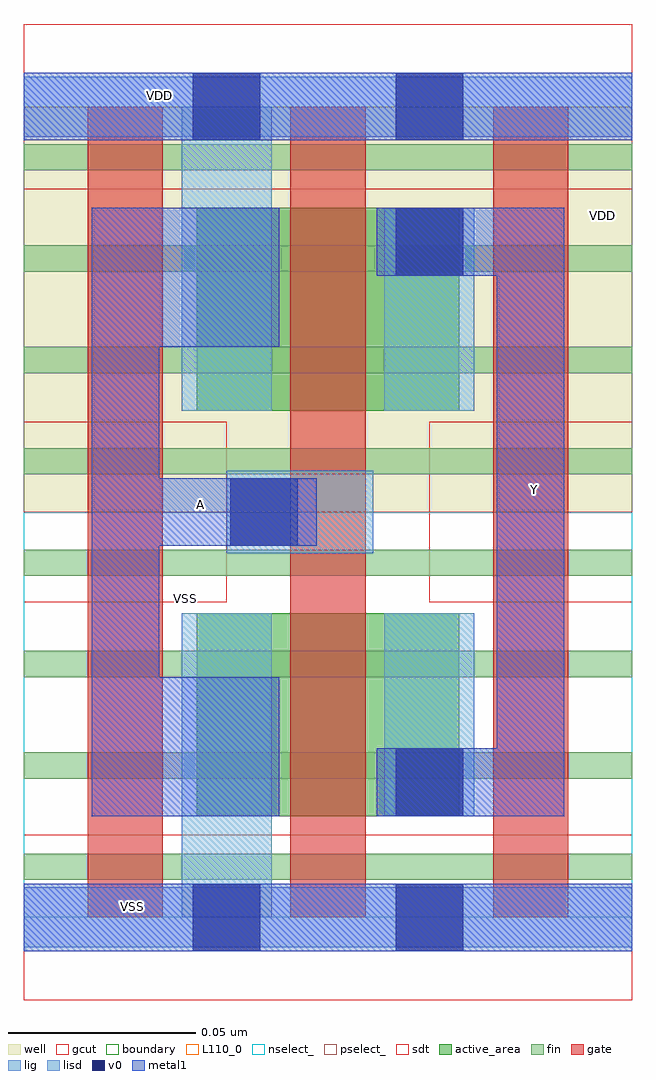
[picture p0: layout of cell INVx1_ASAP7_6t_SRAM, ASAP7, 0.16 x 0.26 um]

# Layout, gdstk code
import gdstk
lib = gdstk.Library(unit=1e-6, precision=2.5e-10)
def R(c, l, rs):  # rectangles x0, y0, x1, y1
    for r in rs: c.add(gdstk.rectangle(r[:2], r[2:], *l))
def A(c, l, x, y, w, h, nx, ny, dx, dy):  # array of equal rectangles
    R(c, l, [(x+i*dx, y+j*dy, x+i*dx+w, y+j*dy+h) for i in range(nx) for j in range(ny)])
def P(c, l, *ps):  # polygons
    for p in ps: c.add(gdstk.Polygon(p, *l))
well = (1, 0)
fin = (2, 0)
gate = (7, 0)
gcut = (10, 0)
active_area = (11, 0)
nselect_ = (12, 0)
pselect_ = (13, 0)
lig = (16, 0)
lisd = (17, 0)
v0 = (18, 0)
metal1 = (19, 0)
sdt = (88, 0)
boundary = (100, 0)
L110_0 = (110, 0)

invx1_asap7_6t_sram = lib.new_cell('INVx1_ASAP7_6t_SRAM')
R(invx1_asap7_6t_sram, well, [(0,0.108,0.162,0.216)])
A(invx1_asap7_6t_sram, fin, 0, 0.01, 0.162, 0.007, 1, 8, 0, 0.027)
A(invx1_asap7_6t_sram, gate, 0.017, 0, 0.02, 0.216, 3, 1, 0.054, 0)
R(invx1_asap7_6t_sram, gcut, [(0,-0.022,0.162,0.022), (0,0.084,0.054,0.132), (0.108,0.084,0.162,0.132), (0,0.194,0.162,0.238)])
R(invx1_asap7_6t_sram, active_area, [(0.046,0.027,0.116,0.081), (0.046,0.135,0.116,0.189)])
R(invx1_asap7_6t_sram, nselect_, [(0,0,0.162,0.108)])
R(invx1_asap7_6t_sram, pselect_, [(0,0.108,0.162,0.216)])
R(invx1_asap7_6t_sram, lig, [(0,-0.008,0.162,0.008), (0.054,0.097,0.093,0.119), (0,0.208,0.162,0.224)])
R(invx1_asap7_6t_sram, lisd, [(0.042,0,0.066,0.081), (0.096,0.027,0.12,0.081), (0.042,0.135,0.066,0.216), (0.096,0.135,0.12,0.189)])
R(invx1_asap7_6t_sram, v0, [(0.045,-0.009,0.063,0.009), (0.099,-0.009,0.117,0.009), (0.099,0.027,0.117,0.045), (0.055,0.099,0.073,0.117), (0.099,0.171,0.117,0.189), (0.045,0.207,0.063,0.225), (0.099,0.207,0.117,0.225)])
R(invx1_asap7_6t_sram, metal1, [(0,-0.009,0.162,0.009), (0,0.207,0.162,0.225)])
P(invx1_asap7_6t_sram, metal1, [(0.144,0.189),(0.094,0.189),(0.094,0.171),(0.126,0.171),(0.126,0.045),(0.094,0.045),(0.094,0.027),(0.144,0.027)],
  [(0.078,0.117),(0.036,0.117),(0.036,0.152),(0.068,0.152),(0.068,0.189),(0.018,0.189),(0.018,0.027),(0.068,0.027),(0.068,0.064),(0.036,0.064),(0.036,0.099),(0.078,0.099)])
R(invx1_asap7_6t_sram, sdt, [(0.042,0.027,0.066,0.081), (0.096,0.027,0.12,0.081), (0.042,0.135,0.066,0.189), (0.096,0.135,0.12,0.189)])
R(invx1_asap7_6t_sram, boundary, [(0,0,0.162,0.216)])
R(invx1_asap7_6t_sram, L110_0, [(0,0,0.162,0.216)])
invx1_asap7_6t_sram.add(gdstk.Label('VDD', (0.154,0.187), layer=1, texttype=251))
invx1_asap7_6t_sram.add(gdstk.Label('Y', (0.136,0.114), layer=19, texttype=251))
invx1_asap7_6t_sram.add(gdstk.Label('A', (0.047,0.11), layer=19, texttype=251))
invx1_asap7_6t_sram.add(gdstk.Label('VDD', (0.036,0.219), layer=19, texttype=251))
invx1_asap7_6t_sram.add(gdstk.Label('VSS', (0.029,0.003), layer=19, texttype=251))
invx1_asap7_6t_sram.add(gdstk.Label('VSS', (0.043,0.085), layer=3, texttype=251))

lib.write_gds('INVx1_ASAP7_6t_SRAM.gds')
